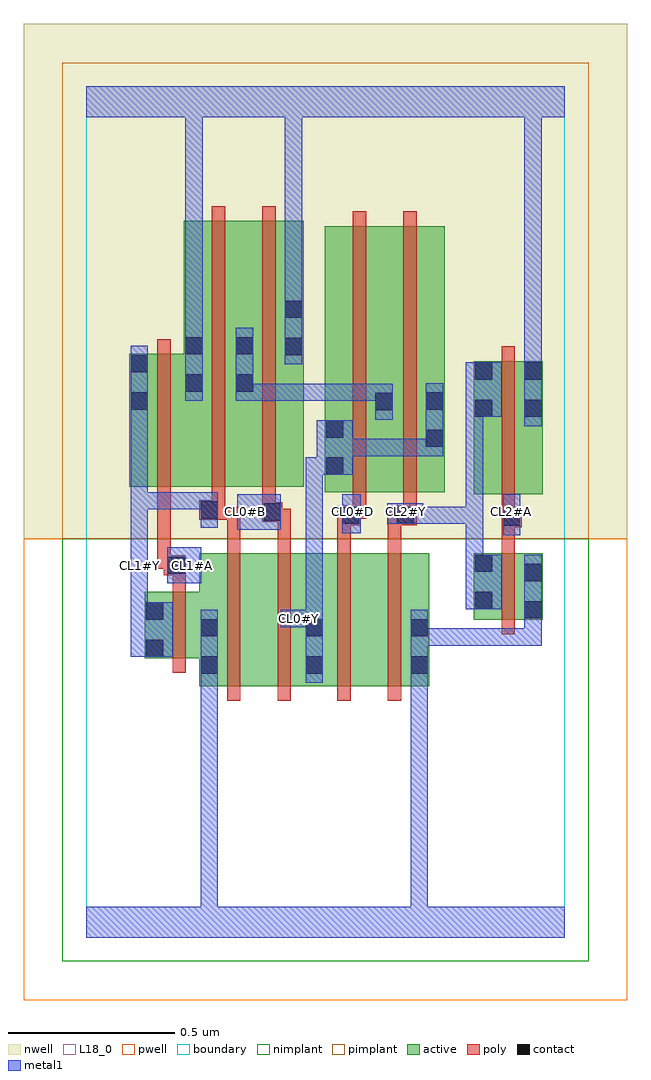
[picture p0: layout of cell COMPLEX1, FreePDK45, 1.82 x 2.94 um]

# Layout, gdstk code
import gdstk
lib = gdstk.Library(unit=1e-6, precision=1e-09)
def R(c, l, rs):  # rectangles x0, y0, x1, y1
    for r in rs: c.add(gdstk.rectangle(r[:2], r[2:], *l))
def A(c, l, x, y, w, h, nx, ny, dx, dy):  # array of equal rectangles
    R(c, l, [(x+i*dx, y+j*dy, x+i*dx+w, y+j*dy+h) for i in range(nx) for j in range(ny)])
active = (1, 0)
pwell = (2, 0)
nwell = (3, 0)
nimplant = (4, 0)
pimplant = (5, 0)
poly = (9, 0)
contact = (10, 0)
metal1 = (11, 0)
L18_0 = (18, 0)
boundary = (235, 0)

complex1 = lib.new_cell('COMPLEX1')
R(complex1, active, [(0.34,0.756,0.52,1.156), (0.34,0.756,0.4,1.04), (0.52,0.756,0.716,1.156), (0.656,0.756,0.716,1.156), (0.656,0.756,0.852,1.156), (0.852,0.756,1.032,1.156), (0.972,0.756,1.032,1.156), (0.176,0.84,0.236,1.04), (0.176,0.84,0.4,1.04), (1.166,0.956,1.226,1.156), (1.166,0.956,1.374,1.156), (1.314,0.956,1.374,1.156), (1.166,1.334,1.226,1.734), (1.166,1.334,1.374,1.734), (1.314,1.334,1.374,1.734), (0.718,1.34,0.778,2.044), (0.718,1.34,0.926,2.14), (0.866,1.34,0.926,2.044), (0.866,1.34,1.078,2.14), (1.018,1.34,1.078,2.044), (0.13,1.356,0.19,1.756), (0.13,1.356,0.354,1.756), (0.294,1.356,0.506,2.156), (0.294,1.356,0.354,2.156), (0.446,1.356,0.654,2.156), (0.446,1.356,0.506,2.044), (0.594,1.452,0.654,2.044)])
R(complex1, pwell, [(-0.188,-0.188,1.628,1.2)])
R(complex1, nwell, [(-0.188,1.2,1.628,2.748)])
R(complex1, nimplant, [(-0.072,-0.072,1.512,1.2)])
R(complex1, pimplant, [(-0.072,1.2,1.512,2.632)])
R(complex1, poly, [(0.424,0.712,0.464,1.2), (0.576,0.712,0.616,1.2), (0.756,0.712,0.796,1.2), (0.908,0.712,0.948,1.2), (0.26,0.796,0.3,1.084), (1.25,0.912,1.29,1.2), (0.26,1.044,0.3,1.13), (0.234,1.09,0.3,1.15), (0.214,1.11,0.254,1.352), (0.214,1.11,0.274,1.15), (0.234,1.11,0.274,1.15), (0.424,1.16,0.464,1.296), (0.576,1.16,0.616,1.29), (0.756,1.16,0.796,1.28), (0.908,1.16,0.948,1.28), (1.25,1.16,1.29,1.274), (1.25,1.234,1.31,1.294), (0.756,1.24,0.826,1.3), (0.908,1.24,0.97,1.28), (0.93,1.24,0.97,1.28), (0.93,1.24,0.994,1.3), (0.53,1.25,0.59,1.31), (0.55,1.25,0.59,1.29), (0.55,1.25,0.616,1.29), (1.25,1.254,1.29,1.33), (1.25,1.254,1.29,1.294), (1.25,1.254,1.29,1.294), (0.34,1.256,0.418,1.316), (0.378,1.256,0.418,1.296), (0.378,1.256,0.464,1.296), (0.786,1.26,0.826,1.3), (0.786,1.26,0.842,1.3), (0.802,1.26,0.842,1.336), (0.954,1.26,0.994,1.336), (0.53,1.27,0.57,1.352), (0.378,1.276,0.418,1.352), (1.25,1.29,1.29,1.778), (0.802,1.296,0.842,2.184), (0.954,1.296,0.994,2.184), (0.214,1.312,0.254,1.8), (0.378,1.312,0.418,2.2), (0.53,1.312,0.57,2.2)])
A(complex1, contact, 0.344, 0.794, 0.052, 0.052, 3, 2, 0.316, 0.112)
R(complex1, contact, [(0.18,0.844,0.232,0.896), (0.18,0.956,0.232,1.008), (1.318,0.96,1.37,1.012), (1.17,0.988,1.222,1.04), (1.318,1.072,1.37,1.124), (0.244,1.094,0.296,1.146), (1.17,1.1,1.222,1.152), (1.254,1.238,1.306,1.29), (0.77,1.244,0.822,1.296), (0.934,1.244,0.986,1.296), (0.534,1.254,0.586,1.306), (0.344,1.26,0.396,1.312), (0.722,1.392,0.774,1.444), (1.022,1.476,1.074,1.528), (0.722,1.504,0.774,1.556), (1.17,1.566,1.222,1.618), (1.318,1.566,1.37,1.618), (0.87,1.586,0.922,1.638), (0.134,1.588,0.186,1.64), (1.022,1.588,1.074,1.64), (0.298,1.642,0.35,1.694), (0.45,1.642,0.502,1.694), (1.17,1.678,1.222,1.73), (1.318,1.678,1.37,1.73), (0.134,1.7,0.186,1.752), (0.598,1.752,0.65,1.804), (0.298,1.754,0.35,1.806), (0.45,1.754,0.502,1.806), (0.598,1.864,0.65,1.916)])
A(complex1, metal1, 0.344, 0.766, 0.052, 0.22, 3, 1, 0.316, 0)
R(complex1, metal1, [(0,0,1.44,0.092), (0.344,0.04,0.396,0.092), (0.344,0.04,0.396,0.092), (0.344,0.04,0.396,0.092), (0.344,0.04,0.396,0.092), (0.344,0.04,0.396,0.092), (0.344,0.04,0.396,0.092), (0.344,0.04,0.396,0.092), (0.344,0.04,0.396,0.092), (0.344,0.04,0.396,0.092), (0.344,0.04,0.396,0.092), (0.344,0.04,0.396,0.092), (0.344,0.04,0.396,0.092), (0.344,0.04,0.396,0.818), (0.976,0.04,1.028,0.092), (0.976,0.04,1.028,0.092), (0.976,0.04,1.028,0.092), (0.976,0.04,1.028,0.092), (0.976,0.04,1.028,0.092), (0.976,0.04,1.028,0.092), (0.976,0.04,1.028,0.092), (0.976,0.04,1.028,0.092), (0.976,0.04,1.028,0.092), (0.976,0.04,1.028,0.092), (0.976,0.04,1.028,0.092), (0.976,0.04,1.028,0.092), (0.976,0.04,1.028,0.818), (0.134,0.844,0.26,1.008), (0.976,0.878,1.124,0.93), (1.072,0.878,1.124,0.93), (1.072,0.878,1.37,0.93), (1.318,0.878,1.37,0.93), (1.318,0.878,1.37,0.93), (1.318,0.878,1.37,0.93), (1.318,0.878,1.37,0.93), (1.318,0.878,1.37,0.93), (1.318,0.878,1.37,0.984), (1.318,0.932,1.37,1.152), (0.586,0.934,0.712,0.986), (0.66,0.934,0.712,0.986), (0.66,0.934,0.712,1.444), (0.134,0.956,0.186,1.118), (1.142,0.988,1.25,1.152), (0.134,1.066,0.186,1.174), (0.244,1.066,0.346,1.174), (1.142,1.1,1.194,1.152), (1.142,1.1,1.194,1.152), (1.142,1.1,1.194,1.296), (0.134,1.122,0.186,1.34), (1.254,1.21,1.306,1.334), (0.77,1.216,0.826,1.334), (0.454,1.226,0.586,1.334), (0.344,1.232,0.396,1.34), (0.906,1.244,1.014,1.306), (0.962,1.244,1.194,1.296), (1.142,1.244,1.194,1.296), (1.142,1.244,1.194,1.296), (1.142,1.244,1.194,1.296), (1.142,1.244,1.194,1.618), (0.134,1.288,0.186,1.34), (0.134,1.288,0.186,1.34), (0.134,1.288,0.186,1.34), (0.134,1.288,0.296,1.34), (0.134,1.288,0.186,1.612), (0.244,1.288,0.296,1.34), (0.244,1.288,0.396,1.34), (0.66,1.392,0.746,1.444), (0.694,1.392,0.746,1.444), (0.694,1.392,0.802,1.556), (0.75,1.448,0.802,1.5), (0.75,1.448,0.802,1.5), (0.75,1.448,0.918,1.5), (0.866,1.448,0.918,1.5), (0.866,1.448,0.918,1.5), (0.866,1.448,0.918,1.5), (0.866,1.448,1.074,1.5), (1.022,1.448,1.074,1.668), (1.318,1.538,1.37,1.758), (0.87,1.558,0.922,1.666), (0.134,1.56,0.186,1.78), (1.142,1.566,1.25,1.73), (0.298,1.614,0.35,1.834), (0.45,1.614,0.502,1.666), (0.45,1.614,0.502,1.666), (0.45,1.614,0.502,1.834), (0.45,1.614,0.636,1.666), (0.584,1.614,0.636,1.666), (0.584,1.614,0.636,1.666), (0.584,1.614,0.636,1.666), (0.584,1.614,0.746,1.666), (0.694,1.614,0.746,1.666), (0.694,1.614,0.746,1.666), (0.694,1.614,0.746,1.666), (0.694,1.614,0.922,1.666), (1.318,1.706,1.37,2.52), (0.598,1.724,0.65,1.944), (0.298,1.782,0.35,1.834), (0.298,1.782,0.35,1.834), (0.298,1.782,0.35,1.834), (0.298,1.782,0.35,1.834), (0.298,1.782,0.35,1.834), (0.298,1.782,0.35,1.834), (0.298,1.782,0.35,2.52), (0.598,1.892,0.65,1.944), (0.598,1.892,0.65,1.944), (0.598,1.892,0.65,1.944), (0.598,1.892,0.65,1.944), (0.598,1.892,0.65,1.944), (0.598,1.892,0.65,1.944), (0.598,1.892,0.65,1.944), (0.598,1.892,0.65,1.944), (0.598,1.892,0.65,2.52), (0,2.468,1.44,2.56), (0.298,2.468,0.35,2.52), (0.298,2.468,0.35,2.52), (1.318,2.468,1.37,2.52), (1.318,2.468,1.37,2.52), (1.318,2.468,1.37,2.52), (1.318,2.468,1.37,2.52), (1.318,2.468,1.37,2.52), (1.318,2.468,1.37,2.52), (1.318,2.468,1.37,2.52), (1.318,2.468,1.37,2.52), (1.318,2.468,1.37,2.52), (1.318,2.468,1.37,2.52), (1.318,2.468,1.37,2.52), (1.318,2.468,1.37,2.52), (1.318,2.468,1.37,2.52), (1.318,2.468,1.37,2.52), (1.318,2.468,1.37,2.52), (1.318,2.468,1.37,2.52)])
A(complex1, L18_0, 0.344, 0.766, 0.052, 0.22, 3, 1, 0.316, 0)
R(complex1, L18_0, [(0,0,1.44,0.092), (0.344,0.04,0.396,0.092), (0.344,0.04,0.396,0.092), (0.344,0.04,0.396,0.092), (0.344,0.04,0.396,0.092), (0.344,0.04,0.396,0.092), (0.344,0.04,0.396,0.092), (0.344,0.04,0.396,0.092), (0.344,0.04,0.396,0.092), (0.344,0.04,0.396,0.092), (0.344,0.04,0.396,0.092), (0.344,0.04,0.396,0.092), (0.344,0.04,0.396,0.092), (0.344,0.04,0.396,0.818), (0.976,0.04,1.028,0.092), (0.976,0.04,1.028,0.092), (0.976,0.04,1.028,0.092), (0.976,0.04,1.028,0.092), (0.976,0.04,1.028,0.092), (0.976,0.04,1.028,0.092), (0.976,0.04,1.028,0.092), (0.976,0.04,1.028,0.092), (0.976,0.04,1.028,0.092), (0.976,0.04,1.028,0.092), (0.976,0.04,1.028,0.092), (0.976,0.04,1.028,0.092), (0.976,0.04,1.028,0.818), (0.134,0.844,0.26,1.008), (0.976,0.878,1.124,0.93), (1.072,0.878,1.124,0.93), (1.072,0.878,1.37,0.93), (1.318,0.878,1.37,0.93), (1.318,0.878,1.37,0.93), (1.318,0.878,1.37,0.93), (1.318,0.878,1.37,0.93), (1.318,0.878,1.37,0.93), (1.318,0.878,1.37,0.984), (1.318,0.932,1.37,1.152), (0.586,0.934,0.712,0.986), (0.614,0.934,0.666,0.986), (0.66,0.934,0.712,0.986), (0.66,0.934,0.712,1.444), (0.134,0.956,0.186,1.118), (1.142,0.988,1.25,1.152), (0.134,1.066,0.186,1.174), (0.244,1.066,0.346,1.174), (0.134,1.094,0.186,1.146), (0.294,1.094,0.346,1.146), (1.142,1.1,1.194,1.152), (1.142,1.1,1.194,1.152), (1.142,1.1,1.194,1.296), (0.134,1.122,0.186,1.34), (1.254,1.21,1.306,1.334), (0.77,1.216,0.826,1.334), (0.454,1.226,0.586,1.334), (0.344,1.232,0.396,1.34), (0.906,1.244,1.014,1.306), (0.962,1.244,1.194,1.296), (1.142,1.244,1.194,1.296), (1.142,1.244,1.194,1.296), (1.142,1.244,1.194,1.296), (1.142,1.244,1.194,1.618), (0.454,1.254,0.506,1.306), (0.774,1.254,0.826,1.306), (0.934,1.254,0.986,1.306), (1.254,1.254,1.306,1.306), (0.134,1.288,0.186,1.34), (0.134,1.288,0.186,1.34), (0.134,1.288,0.186,1.34), (0.134,1.288,0.186,1.612), (0.134,1.288,0.296,1.34), (0.244,1.288,0.296,1.34), (0.244,1.288,0.396,1.34), (0.66,1.392,0.746,1.444), (0.694,1.392,0.746,1.444), (0.694,1.392,0.802,1.556), (0.75,1.448,0.802,1.5), (0.75,1.448,0.802,1.5), (0.75,1.448,0.918,1.5), (0.866,1.448,0.918,1.5), (0.866,1.448,0.918,1.5), (0.866,1.448,0.918,1.5), (0.866,1.448,1.074,1.5), (1.022,1.448,1.074,1.668), (1.318,1.538,1.37,1.758), (0.134,1.56,0.186,1.78), (1.142,1.566,1.25,1.73), (0.298,1.614,0.35,1.834), (1.318,1.706,1.37,2.52), (0.598,1.724,0.65,1.944), (0.298,1.782,0.35,1.834), (0.298,1.782,0.35,1.834), (0.298,1.782,0.35,1.834), (0.298,1.782,0.35,1.834), (0.298,1.782,0.35,1.834), (0.298,1.782,0.35,1.834), (0.298,1.782,0.35,2.52), (0.598,1.892,0.65,1.944), (0.598,1.892,0.65,1.944), (0.598,1.892,0.65,1.944), (0.598,1.892,0.65,1.944), (0.598,1.892,0.65,1.944), (0.598,1.892,0.65,1.944), (0.598,1.892,0.65,1.944), (0.598,1.892,0.65,1.944), (0.598,1.892,0.65,2.52), (0,2.468,1.44,2.56), (0.298,2.468,0.35,2.52), (0.298,2.468,0.35,2.52), (1.318,2.468,1.37,2.52), (1.318,2.468,1.37,2.52), (1.318,2.468,1.37,2.52), (1.318,2.468,1.37,2.52), (1.318,2.468,1.37,2.52), (1.318,2.468,1.37,2.52), (1.318,2.468,1.37,2.52), (1.318,2.468,1.37,2.52), (1.318,2.468,1.37,2.52), (1.318,2.468,1.37,2.52), (1.318,2.468,1.37,2.52), (1.318,2.468,1.37,2.52), (1.318,2.468,1.37,2.52), (1.318,2.468,1.37,2.52), (1.318,2.468,1.37,2.52), (1.318,2.468,1.37,2.52)])
R(complex1, boundary, [(0,0,1.44,2.56)])
complex1.add(gdstk.Label('CL0#B', (0.48,1.28), layer=11, texttype=0))
complex1.add(gdstk.Label('CL0#D', (0.8,1.28), layer=11, texttype=0))
complex1.add(gdstk.Label('CL0#Y', (0.64,0.96), layer=11, texttype=0))
complex1.add(gdstk.Label('CL1#A', (0.32,1.12), layer=11, texttype=0))
complex1.add(gdstk.Label('CL1#Y', (0.16,1.12), layer=11, texttype=0))
complex1.add(gdstk.Label('CL2#A', (1.28,1.28), layer=11, texttype=0))
complex1.add(gdstk.Label('CL2#Y', (0.96,1.28), layer=11, texttype=0))

lib.write_gds('COMPLEX1.gds')
